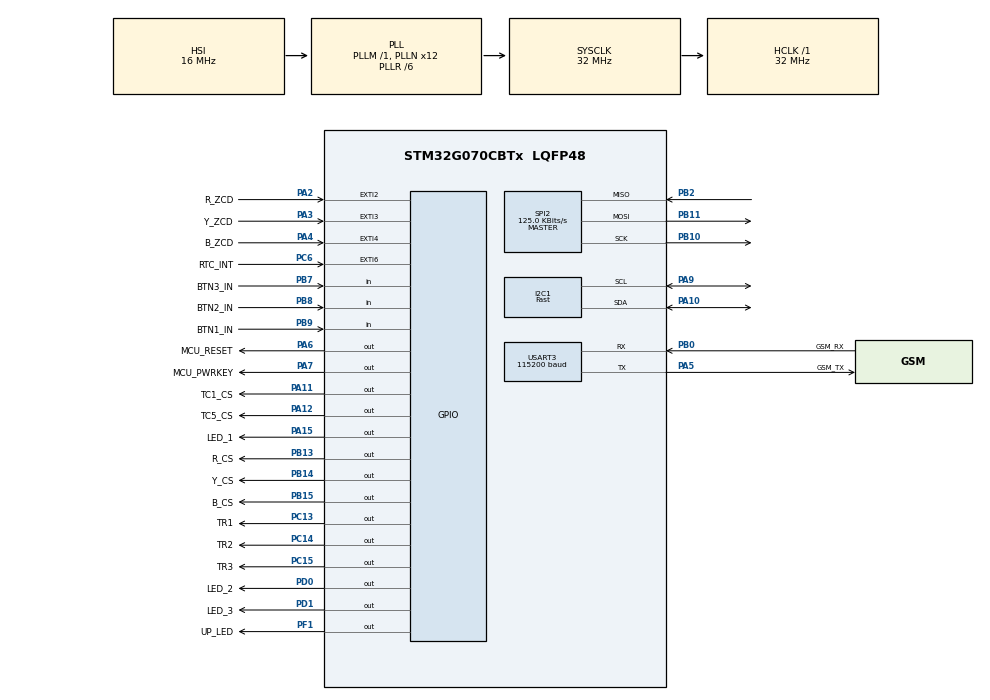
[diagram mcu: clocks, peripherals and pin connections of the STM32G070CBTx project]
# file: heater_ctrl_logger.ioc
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ADC1.Channel-0\#ChannelRegularConversion=ADC_CHANNEL_2
ADC1.Channel-1\#ChannelRegularConversion=ADC_CHANNEL_3
ADC1.Channel-2\#ChannelRegularConversion=ADC_CHANNEL_VREFINT
ADC1.ClockPrescaler=ADC_CLOCK_ASYNC_DIV8
ADC1.ContinuousConvMode=ENABLE
ADC1.DMAContinuousRequests=ENABLE
ADC1.DiscontinuousConvMode=DISABLE
ADC1.EOCSelection=ADC_EOC_SEQ_CONV
ADC1.NbrOfConversion=3
ADC1.NbrOfConversionFlag=1
ADC1.Rank-1\#ChannelRegularConversion=2
ADC1.Rank-2\#ChannelRegularConversion=3
ADC1.SamplingTime-1\#ChannelRegularConversion=ADC_SAMPLINGTIME_COMMON_1
ADC1.SamplingTime-2\#ChannelRegularConversion=ADC_SAMPLINGTIME_COMMON_1
ADC1.SelectedChannel=ADC_CHANNEL_VREFINT
ADC1.Sequencer=FULLY_CONFIGURABLE
ADC1.TriggerFrequencyMode=ADC_TRIGGER_FREQ_HIGH
ADC1.master=1
Dma.ADC1.0.Direction=DMA_PERIPH_TO_MEMORY
Dma.ADC1.0.EventEnable=DISABLE
Dma.ADC1.0.Instance=DMA1_Channel1
Dma.ADC1.0.MemDataAlignment=DMA_MDATAALIGN_HALFWORD
Dma.ADC1.0.MemInc=DMA_MINC_ENABLE
Dma.ADC1.0.Mode=DMA_CIRCULAR
Dma.ADC1.0.PeriphDataAlignment=DMA_PDATAALIGN_HALFWORD
Dma.ADC1.0.PeriphInc=DMA_PINC_DISABLE
Dma.ADC1.0.Polarity=HAL_DMAMUX_REQ_GEN_RISING
Dma.ADC1.0.Priority=DMA_PRIORITY_LOW
Dma.ADC1.0.RequestNumber=1
Dma.ADC1.0.SignalID=NONE
Dma.ADC1.0.SyncEnable=DISABLE
Dma.ADC1.0.SyncPolarity=HAL_DMAMUX_SYNC_NO_EVENT
Dma.ADC1.0.SyncRequestNumber=1
Dma.ADC1.0.SyncSignalID=NONE
Dma.Request0=ADC1
Dma.Request1=USART3_RX
Dma.Request2=USART3_TX
Dma.USART3_RX.1.Direction=DMA_PERIPH_TO_MEMORY
Dma.USART3_RX.1.EventEnable=DISABLE
Dma.USART3_RX.1.Instance=DMA1_Channel2
Dma.USART3_RX.1.MemDataAlignment=DMA_MDATAALIGN_BYTE
Dma.USART3_RX.1.MemInc=DMA_MINC_ENABLE
Dma.USART3_RX.1.Mode=DMA_NORMAL
Dma.USART3_RX.1.PeriphDataAlignment=DMA_PDATAALIGN_BYTE
Dma.USART3_RX.1.PeriphInc=DMA_PINC_DISABLE
Dma.USART3_RX.1.Polarity=HAL_DMAMUX_REQ_GEN_RISING
Dma.USART3_RX.1.Priority=DMA_PRIORITY_MEDIUM
Dma.USART3_RX.1.RequestNumber=1
Dma.USART3_RX.1.SignalID=NONE
Dma.USART3_RX.1.SyncEnable=DISABLE
Dma.USART3_RX.1.SyncPolarity=HAL_DMAMUX_SYNC_NO_EVENT
Dma.USART3_RX.1.SyncRequestNumber=1
Dma.USART3_RX.1.SyncSignalID=NONE
Dma.USART3_TX.2.Direction=DMA_MEMORY_TO_PERIPH
Dma.USART3_TX.2.EventEnable=DISABLE
Dma.USART3_TX.2.Instance=DMA1_Channel3
Dma.USART3_TX.2.MemDataAlignment=DMA_MDATAALIGN_BYTE
Dma.USART3_TX.2.MemInc=DMA_MINC_ENABLE
Dma.USART3_TX.2.Mode=DMA_NORMAL
Dma.USART3_TX.2.PeriphDataAlignment=DMA_PDATAALIGN_BYTE
Dma.USART3_TX.2.PeriphInc=DMA_PINC_DISABLE
Dma.USART3_TX.2.Polarity=HAL_DMAMUX_REQ_GEN_RISING
Dma.USART3_TX.2.Priority=DMA_PRIORITY_LOW
Dma.USART3_TX.2.RequestNumber=1
Dma.USART3_TX.2.SignalID=NONE
Dma.USART3_TX.2.SyncEnable=DISABLE
Dma.USART3_TX.2.SyncPolarity=HAL_DMAMUX_SYNC_NO_EVENT
Dma.USART3_TX.2.SyncRequestNumber=1
Dma.USART3_TX.2.SyncSignalID=NONE
I2C1.CustomTiming=Disabled
I2C1.I2C_Speed_Mode=I2C_Fast
I2C1.Timing=0x0060112F
Mcu.Family=STM32G0
Mcu.Name=STM32G070CBTx
Mcu.Package=LQFP48
NVIC.ADC1_IRQn=true\:0\:0\:false\:false\:true\:true\:true\:true
NVIC.DMA1_Channel1_IRQn=true\:0\:0\:false\:false\:true\:false\:true\:true
NVIC.DMA1_Channel2_3_IRQn=true\:0\:0\:false\:false\:true\:false\:true\:true
NVIC.EXTI2_3_IRQn=true\:0\:0\:false\:false\:true\:true\:true\:true
NVIC.EXTI4_15_IRQn=true\:0\:0\:false\:false\:true\:true\:true\:true
NVIC.TIM16_IRQn=true\:0\:0\:false\:false\:true\:true\:true\:true
NVIC.USART3_4_IRQn=true\:0\:0\:false\:false\:true\:true\:true\:true
PA10.Mode=I2C
PA10.Signal=I2C1_SDA
PA11\ [PA9].GPIO_Label=TC1_CS
PA11\ [PA9].Signal=GPIO_Output
PA12\ [PA10].GPIO_Label=TC5_CS
PA12\ [PA10].Signal=GPIO_Output
PA13.Mode=Serial_Wire
PA13.Signal=SYS_SWDIO
PA14-BOOT0.Mode=Serial_Wire
PA14-BOOT0.Signal=SYS_SWCLK
PA15.GPIO_Label=LED_1
PA15.Signal=GPIO_Output
PA2.GPIO_Label=R_ZCD
PA2.GPIO_ModeDefaultEXTI=GPIO_MODE_IT_FALLING
PA2.GPIO_PuPd=GPIO_PULLUP
PA2.Signal=GPXTI2
PA3.GPIO_Label=Y_ZCD
PA3.GPIO_ModeDefaultEXTI=GPIO_MODE_IT_FALLING
PA3.GPIO_PuPd=GPIO_PULLUP
PA3.Signal=GPXTI3
PA4.GPIO_Label=B_ZCD
PA4.GPIO_ModeDefaultEXTI=GPIO_MODE_IT_FALLING
PA4.GPIO_PuPd=GPIO_PULLUP
PA4.Signal=GPXTI4
PA5.GPIO_Label=GSM_TX
PA5.Mode=Asynchronous
PA5.Signal=USART3_TX
PA6.GPIO_Label=MCU_RESET
PA6.GPIO_ModeDefaultOutputPP=GPIO_MODE_OUTPUT_PP
PA6.GPIO_PuPd=GPIO_NOPULL
PA6.Signal=GPIO_Output
PA7.GPIO_Label=MCU_PWRKEY
PA7.Signal=GPIO_Output
PA9.Mode=I2C
PA9.Signal=I2C1_SCL
PB0.GPIO_Label=GSM_RX
PB0.Mode=Asynchronous
PB0.Signal=USART3_RX
PB10.Mode=Full_Duplex_Master
PB10.Signal=SPI2_SCK
PB11.Mode=Full_Duplex_Master
PB11.Signal=SPI2_MOSI
PB13.GPIO_Label=R_CS
PB13.GPIO_Speed=GPIO_SPEED_FREQ_HIGH
PB13.Signal=GPIO_Output
PB14.GPIO_Label=Y_CS
PB14.GPIO_Speed=GPIO_SPEED_FREQ_HIGH
PB14.Signal=GPIO_Output
PB15.GPIO_Label=B_CS
PB15.GPIO_Speed=GPIO_SPEED_FREQ_HIGH
PB15.Signal=GPIO_Output
PB2.Mode=Full_Duplex_Master
PB2.Signal=SPI2_MISO
PB7.GPIO_Label=BTN3_IN
PB7.Signal=GPIO_Input
PB8.GPIO_Label=BTN2_IN
PB8.Signal=GPIO_Input
PB9.GPIO_Label=BTN1_IN
PB9.Signal=GPIO_Input
PC13.GPIO_Label=TR1
PC13.Signal=GPIO_Output
PC14-OSC32_IN\ (PC14).GPIO_Label=TR2
PC14-OSC32_IN\ (PC14).Signal=GPIO_Output
PC15-OSC32_OUT\ (PC15).GPIO_Label=TR3
PC15-OSC32_OUT\ (PC15).Signal=GPIO_Output
PC6.GPIO_Label=RTC_INT
PC6.GPIO_ModeDefaultEXTI=GPIO_MODE_IT_FALLING
PC6.Signal=GPXTI6
PD0.GPIO_Label=LED_2
PD0.Signal=GPIO_Output
PD1.GPIO_Label=LED_3
PD1.Signal=GPIO_Output
PF1-OSC_OUT\ (PF1).GPIO_Label=UP_LED
PF1-OSC_OUT\ (PF1).Signal=GPIO_Output
ProjectManager.HeapSize=0x200
ProjectManager.StackSize=0x400
ProjectManager.TargetToolchain=STM32CubeIDE
RCC.ADCCLockSelection=RCC_ADCCLKSOURCE_PLLADC
RCC.ADCFreq_Value=16000000
RCC.AHBFreq_Value=32000000
RCC.CortexFreq_Value=32000000
RCC.EXTERNAL_CLOCK_VALUE=48000
RCC.HCLKFreq_Value=32000000
RCC.HSE_VALUE=8000000
RCC.HSI_VALUE=16000000
RCC.LSE_VALUE=32768
RCC.PLLN=12
RCC.PLLP=RCC_PLLP_DIV12
RCC.PLLR=RCC_PLLR_DIV6
RCC.SYSCLKFreq_VALUE=32000000
RCC.SYSCLKSource=RCC_SYSCLKSOURCE_PLLCLK
RCC.VCOOutputFreq_Value=192000000
SPI2.BaudRatePrescaler=SPI_BAUDRATEPRESCALER_256
SPI2.CLKPhase=SPI_PHASE_2EDGE
SPI2.CLKPolarity=SPI_POLARITY_HIGH
SPI2.CalculateBaudRate=125.0 KBits/s
SPI2.DataSize=SPI_DATASIZE_8BIT
SPI2.Direction=SPI_DIRECTION_2LINES
SPI2.Mode=SPI_MODE_MASTER
SPI2.VirtualType=VM_MASTER
TIM16.Period=100
TIM16.Prescaler=32
USART3.BaudRate=115200
USART3.VirtualMode-Asynchronous=VM_ASYNC
VP_ADC1_Vref_Input.Mode=IN-Vrefint
VP_TIM16_VS_ClockSourceINT.Mode=Enable_Timer
board=custom

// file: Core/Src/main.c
/* USER CODE BEGIN Header */
/**
 ******************************************************************************
 * @file           : main.c
 * @brief          : Main program body
 ******************************************************************************
 * @attention
 *
 * Copyright (c) 2024 STMicroelectronics.
 * All rights reserved.
 *
 * This software is licensed under terms that can be found in the LICENSE file
 * in the root directory of this software component.
 * If no LICENSE file comes with this software, it is provided AS-IS.
 *
 ******************************************************************************
 */
/* USER CODE END Header */
#include "main.h"

/* USER CODE BEGIN Includes */
#include "temp.h"
#include "ds3231.h"
#include "e24.h"
#include "../../ECUAL/I2C_LCD/I2C_LCD.h"
#include <stdio.h>
#include <string.h>
#include <math.h>
/* USER CODE END Includes */

/* USER CODE BEGIN PD */
#define LED1(S)					(HAL_GPIO_WritePin(LED_1_GPIO_Port, LED_1_Pin, S))
#define LED2(S)					(HAL_GPIO_WritePin(LED_2_GPIO_Port, LED_2_Pin, S))
#define LED3(S)					(HAL_GPIO_WritePin(LED_3_GPIO_Port, LED_3_Pin, S))
#define GSM_WAIT_TIME_LOW		500
#define GSM_WAIT_TIME_MED		10000
#define GSM_WAIT_TIME_HIGH		20000

#define TIME_READ()				() /* TODO configure time setting buttom */

#define MODE_OFF	0x00
#define MODE_ON		0x01
#define MODE_CTRL	0x02

/*###*/
#define ACS37800_I2C_ADDR				(127)
#define ACS37800_REG_VIRMS				(0x20) /* IRMSAVGONESEC / VRMSAVGONESEC */
#define ACS37800_REG_PACTAVGONEMIN		(0x22) /* LSW */
#define ACS37800_REG_SLADDR				(0x0F) /* LSW */
#define ACS37800_CURR_SENS_RANGE		(30) /* ACS37800KMACTR-030B3-I2C is a 30.0A part */
//#define ACS37800_R_RATIO				(0.0008243)
//#define ACS37800_R_RATIO				(0.000814)
#define ACS37800_R_RATIO				(0.000885)

uint8_t acs37800_vi_buffer[4];
uint8_t acs37800_p_buffer[4];
uint16_t pavg;
float vrms_final = 0;
float irms_final = 0;
float pavg_final = 0;
const float CURR_ERR_MULTIPLIER = 1;
const float VOLT_ERR_MULTIPLIER = 1;
/*###*/
/* USER CODE END PD */

/* USER CODE BEGIN PM */

#define BTN1_READ()		(HAL_GPIO_ReadPin(BTN1_IN_GPIO_Port, BTN1_IN_Pin))
#define BTN2_READ()		(HAL_GPIO_ReadPin(BTN2_IN_GPIO_Port, BTN2_IN_Pin))
#define BTN3_READ()		(HAL_GPIO_ReadPin(BTN3_IN_GPIO_Port, BTN3_IN_Pin))

/* 3 TRIACs, for 3 heaters */
#define TRIAC1_SET(SET_OR_RESET) (HAL_GPIO_WritePin(TR1_GPIO_Port, TR1_Pin, SET_OR_RESET))
#define TRIAC2_SET(SET_OR_RESET) (HAL_GPIO_WritePin(TR2_GPIO_Port, TR2_Pin, SET_OR_RESET))
#define TRIAC3_SET(SET_OR_RESET) (HAL_GPIO_WritePin(TR3_GPIO_Port, TR3_Pin, SET_OR_RESET))
#define TS1_CS(SET_OR_RESET) (HAL_GPIO_WritePin(TC1_CS_GPIO_Port, TC1_CS_Pin, SET_OR_RESET))
#define TS2_CS(SET_OR_RESET) (HAL_GPIO_WritePin(TC5_CS_GPIO_Port, TC5_CS_Pin, SET_OR_RESET))
#define R_CS(SET_OR_RESET) (HAL_GPIO_WritePin(R_CS_GPIO_Port, R_CS_Pin, SET_OR_RESET))
#define Y_CS(SET_OR_RESET) (HAL_GPIO_WritePin(Y_CS_GPIO_Port, Y_CS_Pin, SET_OR_RESET))
#define B_CS(SET_OR_RESET) (HAL_GPIO_WritePin(B_CS_GPIO_Port, B_CS_Pin, SET_OR_RESET))
#define TRIAC2_SET(SET_OR_RESET) (HAL_GPIO_WritePin(TR2_GPIO_Port, TR2_Pin, SET_OR_RESET))
#define TRIAC3_SET(SET_OR_RESET) (HAL_GPIO_WritePin(TR3_GPIO_Port, TR3_Pin, SET_OR_RESET))

#define TRIAC_TRIGGER_TIME    10 /* 100us, 10ms total time for TRIAC to be on */
/* USER CODE END PM */

ADC_HandleTypeDef hadc1;
DMA_HandleTypeDef hdma_adc1;

I2C_HandleTypeDef hi2c1;

SPI_HandleTypeDef hspi2;

TIM_HandleTypeDef htim16;

UART_HandleTypeDef huart3;
DMA_HandleTypeDef hdma_usart3_rx;
DMA_HandleTypeDef hdma_usart3_tx;

/* USER CODE BEGIN PV */
uint32_t baudRate;
EE24_HandleTypeDef ee;
/* USER CODE END PV */

void SystemClock_Config(void);
static void MX_GPIO_Init(void);
static void MX_DMA_Init(void);
static void MX_TIM16_Init(void);
static void MX_I2C1_Init(void);
static void MX_USART3_UART_Init(void);
static void MX_ADC1_Init(void);
static void MX_SPI2_Init(void);

/* USER CODE BEGIN 0 */
/** LCD **/
#define LCD1 I2C_LCD_1

/* Button reading */
#define LED_BLINK_TIME	1000
#define LED_ON()		(HAL_GPIO_WritePin(UP_LED_GPIO_Port, UP_LED_Pin, GPIO_PIN_SET))
#define LED_OFF()		(HAL_GPIO_WritePin(UP_LED_GPIO_Port, UP_LED_Pin, GPIO_PIN_RESET))

uint8_t btn1_flag, btn2_flag, btn3_flag;
uint16_t btn1_timer, btn2_timer, btn3_timer, led_blink_timer;
uint8_t btn1_stat;
uint8_t btn2_stat;
uint8_t btn3_stat;
uint8_t led_blink_flag;

void led_blink() {
	LED_ON();
	led_blink_flag = 1;
}

uint8_t btn1_read(uint8_t is_long) {
	if(BTN3_READ() == 0) {
		btn1_flag = 1;
		if(btn1_flag && btn1_timer > (is_long ? 10000: 1100)) {
			btn1_timer = 0;
			return 1;
		}
	}
	else btn1_flag = 0;
	return 0;
}
uint8_t btn2_read() {
	if(BTN2_READ() == 0) {
		btn2_flag = 1;
		if(btn2_flag && btn2_timer > 1100) {
			btn2_timer = 0;
			return 1;
		}
	}
	else btn2_flag = 0;
	return 0;
}
uint8_t btn3_read(uint8_t is_long) {
	if(BTN1_READ() == 0) {
		btn3_flag = 1;
		if(btn3_flag && btn3_timer > (is_long ? 10000: 1100)) {
			btn3_timer = 0;
			return 1;
		}
	}
	else btn3_flag = 0;
	return 0;
}

I2C_HandleTypeDef* _ds3231_hi2c = &hi2c1;
uint8_t sensor_idx;
uint8_t sensor_refresh_flag;
uint32_t us;
uint32_t ms;
uint8_t sec;
uint32_t min;
uint16_t hr;

/* ADC stuff */
/* ADC data points */
#define ADC_CHANNEL_COUNT    3 /* TODO change this */
#define ADC_SAMPLE_COUNT     500 /* TODO change this */
float adc_arr[ADC_CHANNEL_COUNT];
float adc_conv_fact[ADC_CHANNEL_COUNT] = { 0.108675, 0.001932, 0 }; /* TODO add current and temp values */
uint16_t adc_raw[ADC_CHANNEL_COUNT];

double kwh;

typedef enum adc_params {
	VOLT,
	CUR,
	TEMP,
} adc_param;

uint8_t period = 0;
void HAL_ADC_ConvCpltCallback(ADC_HandleTypeDef *hadc) {
	static uint32_t adc_avg[ADC_CHANNEL_COUNT] = {};
	static uint16_t sample_count = 0;
	if(sample_count >= ADC_SAMPLE_COUNT) {
		for(uint8_t i = 0; i < ADC_CHANNEL_COUNT; i++) {
			adc_avg[i] = adc_avg[i] / ADC_SAMPLE_COUNT;
			if(adc_avg[i] < 200) adc_avg[i] = 0;
			adc_arr[i] = (float)adc_avg[i] * adc_conv_fact[i];
			adc_avg[i] = 0;
		}
		sample_count = 0;
	}
	else {
		for(uint8_t i = 0; i < ADC_CHANNEL_COUNT; i++) {
			adc_avg[i] += adc_raw[i];
		}
		sample_count++;
	}
}

uint16_t triac_trigger_timer;
uint8_t triac_temp_ctrl;
uint8_t triac_trigger_flag;

/* GPIO EXTI */
uint8_t triac_timer_flag_r;
uint8_t triac_timer_flag_y;
uint8_t triac_timer_flag_b;

float triac_timer_r;
float triac_timer_y;
float triac_timer_b;

float triac_time;

uint32_t tim = 0;
uint16_t triac_on_time;
uint8_t triac_mode = MODE_OFF;
uint8_t mode = 0;
uint8_t kwh_time_count; /* TODO remove */
/*###*/
uint8_t kwh_update_flag;
uint8_t vi_update_flag;
/*###*/

void HAL_GPIO_EXTI_Falling_Callback(uint16_t pin) {
	// TODO pin check
	if(pin == GPIO_PIN_2) {
		/* zero crossing detection */
//		lastime = TIM16->CNT;
		triac_timer_r = 0;
		triac_timer_flag_r = 1; /* allow the timer to run */
		/* keep the TRIACs low before triggering */
		TRIAC1_SET(0); /* trigger delay */
	}
	else if(pin == GPIO_PIN_3) { /* TODO pin fix*/
		triac_timer_y = 0;
		triac_timer_flag_y = 1;
		TRIAC2_SET(0);
	}
	else if(pin == GPIO_PIN_4) {
		triac_timer_b = 0;
		triac_timer_flag_b = 1;
		TRIAC3_SET(0);
	}
	if(pin == GPIO_PIN_6) {
		/* RTC interrupt */
		/*###*/
//		kwh_update_flag = 1;
		/*###*/
	}
}

float temperatures[SENSOR_COUNT + 1];

/* GSM stuff */
#define GSM_OK		0
#define GSM_WAIT	2
#define GSM_NOK 	99

#define GSM_CMD_LAST_IDX	13

volatile uint8_t gsm_tx_busy, gsm_rx_busy, gsm_status;
volatile uint16_t gsm_rx_timer, gsm_rx_timeout;
uint8_t gsm_cmd_step;
volatile uint8_t gsm_rx_flag;
#define GSM_RX_BUFFER_SIZE	100
#define RX_BUFFER_SIZE		512
uint8_t gsm_tx_buffer[300];
char gsm_rx_buffer[GSM_RX_BUFFER_SIZE];
char gsm_match_resp[20];

static uint8_t rx_byte;
static uint8_t rx_index;
static uint8_t rx_timeout;
uint8_t time_flag;
//static uint8_t rx_buffer[RX_BUFFER_SIZE] = {0};
static char rx_buffer[RX_BUFFER_SIZE] = {0};

uint8_t upload_running = 0;
uint8_t upload_flag = 0;
uint8_t time_isr_flg = 0;
uint16_t reset_flag = 0;

uint32_t lastime;

/* Util funcs */
// Check if target string exists in buffer
uint8_t find_string_in_buffer(const char* buffer, const char* target) {
}

uint8_t gsm_cmd(char *cmd, char *op_check, uint16_t wtime) {
	char cmd_string[500];
	memset(cmd_string, 0, 20);
	sprintf(cmd_string, "%s%s", cmd, "\r\n" );
	gsm_tx_busy = 1;
	gsm_rx_timeout = wtime * 10;
	strcpy(gsm_match_resp, op_check);
	gsm_status = GSM_WAIT;
	return HAL_UART_Transmit_DMA(&huart3, (uint8_t *)cmd_string, strlen(cmd_string));
}

uint8_t gsm_is_valid_resp() {
    return strstr(gsm_rx_buffer, gsm_match_resp) != NULL;
}

void HAL_UART_TxCpltCallback(UART_HandleTypeDef *huart) {
	if(huart->Instance == USART3) {
		gsm_tx_busy = 0;
		gsm_rx_busy = 1;
		memset(gsm_rx_buffer, 0, GSM_RX_BUFFER_SIZE);
		HAL_UART_Receive_DMA(huart, gsm_rx_buffer, GSM_RX_BUFFER_SIZE);
		gsm_rx_flag = 1;
	}
}

void HAL_UART_RxCpltCallback(UART_HandleTypeDef *huart) {
	if(huart->Instance == USART3) {
		if (rx_index < RX_BUFFER_SIZE - 1) {
		    rx_buffer[rx_index++] = rx_byte;
		} else {
		    rx_index = 0;   // or stop reception
		}
		reset_flag++;
		if(rx_timeout == 0){
			HAL_UART_Receive_IT(huart, &rx_byte, 1);
		}
		if(rx_index > 38) {
			time_isr_flg = 1;
		}
	}
}

uint8_t led2_blink_flag, led2_blink_state;
uint16_t led2_blink_timer;
void led2_blink() {
	led2_blink_flag = 1;
}

void led2_off() {
	led2_blink_flag = 0;
	LED2(0);
}

void HAL_TIM_PeriodElapsedCallback(TIM_HandleTypeDef* htim) {
	if(htim->Instance == TIM16) {
		if(ms > 10000) {
			if(sec > 60) {
				if(min > 60) {
					min = 0;
					hr++;
				}
				else min++;
				sec = 0;
			} else sec++;
			ms = 0;
			vi_update_flag = 1;
			kwh_update_flag = 1;
			/*###*/
		} else ms++;

		if(ms % 5000 == 0)
			sensor_refresh_flag = 1;
		btn1_timer = btn1_flag ? btn1_timer + 1: 0;
		btn2_timer = btn2_flag ? btn2_timer + 1: 0;
		btn3_timer = btn3_flag ? btn3_timer + 1: 0;
		led_blink_timer = led_blink_flag ? led_blink_timer + 1: 0;
//		if(led_blink_timer > LED_BLINK_TIME) {
//			led_blink_flag =  0;
//			LED_OFF();
//		}
//		if(led2_blink_flag) {
//			led2_blink_timer++;
//			if(led2_blink_timer > LED_BLINK_TIME) {
//				LED2(!led2_blink_state); /* toggle LED */
//				led2_blink_timer = 0;
//			}
//		} else LED2(0);
//
		/*B*/
		/* If time up, trigger TRIAC */
		if(triac_mode == MODE_CTRL) {
			triac_timer_r = triac_timer_flag_r ? triac_timer_r + 0.1 : 0;
			triac_timer_y = triac_timer_flag_y ? triac_timer_y + 0.1 : 0;
			triac_timer_b = triac_timer_flag_b ? triac_timer_b + 0.1 : 0;

			if(triac_timer_r >= triac_time) {
				/* trigger TRIAC */
				triac_timer_flag_r = 0;
				TRIAC1_SET(1); /* trigger pulse */
				for(uint8_t i = 0; i < 100; i++);
				TRIAC1_SET(0); /* turn it off */
			}

			if(triac_timer_y >= triac_time) {
				/* trigger TRIAC */
				triac_timer_flag_y = 0;
				TRIAC2_SET(1); /* trigger pulse */
				for(uint8_t i = 0; i < 100; i++);
				TRIAC2_SET(0); /* turn it off */
			}

			if(triac_timer_b >= triac_time) {
				/* trigger TRIAC */
				triac_timer_flag_b = 0;
				TRIAC3_SET(1); /* trigger pulse */
				for(uint8_t i = 0; i < 100; i++);
				TRIAC3_SET(0); /* turn it off */
			}

		} else {
			TRIAC1_SET(0); /* trigger TRIAC */
			TRIAC2_SET(0);
			TRIAC3_SET(0); /* turn it off */
			triac_time = 0;
		}
		/*B*/
		gsm_rx_timer = gsm_rx_flag ? gsm_rx_timer + 1: 0;
		if(gsm_rx_timer > gsm_rx_timeout) {
			gsm_rx_timer = 0;
			/* TODO process gsm_rx_buffer */
			if(gsm_is_valid_resp())
				gsm_status = GSM_OK;
			else
				gsm_status = GSM_NOK;

//			memset(gsm_rx_buffer, 0, GSM_RX_BUFFER_SIZE);
			gsm_rx_flag = 0; /* clear everything... */
			gsm_tx_busy = 0; /* ...to read data again */
			gsm_rx_busy = 0;
		}
	}
}
/* EEPROM */
#define EEPROM_I2C &hi2c1
// EEPROM ADDRESS (8bits)
#define EEPROM_ADDR 0xAE
#define EEPROM_KWH_MEM_ADDR	(0x0)

static uint8_t adc_data_volt[3];
static uint8_t adc_data_curr[3];
static uint16_t adc_data_volt_raw[3];
static uint16_t adc_data_curr_raw[3];
static uint32_t adc_data_volt_avg[3];
static uint32_t adc_data_curr_avg[3];
static float adc_pv_volt[3];
static float adc_pv_curr[3];

typedef enum {
	R_PH,
	Y_PH,
	B_PH
} Phase_Id;
/* USER CODE END 0 */

int main(void)
{

	/* MCU Configuration--------------------------------------------------------*/

	/* Reset of all peripherals, Initializes the Flash interface and the Systick. */
	HAL_Init();

	/* Configure the system clock */
	SystemClock_Config();

	/* Initialize all configured peripherals */
	MX_GPIO_Init();
	MX_DMA_Init();
	MX_TIM16_Init();
	MX_I2C1_Init();
	MX_USART3_UART_Init();
	MX_ADC1_Init();
	MX_SPI2_Init();
	/* USER CODE BEGIN 2 */
	TRIAC1_SET(0);
	TRIAC2_SET(0);
	TRIAC3_SET(0);
	TS1_CS(1);
	TS2_CS(1);
	R_CS(1);
	Y_CS(1);
	B_CS(1);

	/* USER CODE END 2 */

	/* Infinite loop */
	/* USER CODE BEGIN WHILE */
	uint8_t sdo[2] = { 0, 0 };
	uint16_t temp_word;
	uint8_t temp_state = 0;
	uint16_t temp12b = 0;

	/* GSM stuff */
	char content_string[200] = "";
	char api_key[20] = "07AFUS2QQTX0QLDF"; /* key for testing */
	// "01VH0OM4JU4KG9KN"; // API key
	/* GSM powerkey dance */
	/* TODO implement this using timer interrupts */
	// PWRKEY dance. Credits: Indra
	//	HAL_GPIO_WritePin(MCU_RESET_GPIO_Port,MCU_RESET_Pin,GPIO_PIN_SET);
	//	HAL_Delay(2000);
	//	HAL_GPIO_WritePin(MCU_RESET_GPIO_Port,MCU_RESET_Pin,GPIO_PIN_RESET);
	//	HAL_Delay(200);
	//
	//	HAL_GPIO_WritePin(MCU_PWRKEY_GPIO_Port,MCU_PWRKEY_Pin,GPIO_PIN_RESET);
	//	HAL_Delay(200);
	//	HAL_GPIO_WritePin(MCU_PWRKEY_GPIO_Port,MCU_PWRKEY_Pin,GPIO_PIN_SET);
	//	HAL_Delay(700);
	//	HAL_GPIO_WritePin(MCU_PWRKEY_GPIO_Port,MCU_PWRKEY_Pin,GPIO_PIN_RESET);
	//	HAL_Delay(15000);

	uint8_t prev_idx = 1;

	/* key variables */
	uint8_t active_sensor_idx = 0;
	uint16_t set_point = 400; /* Cut the TRIAC off above 400 */

	/* Initialization */
	HAL_TIM_Base_Start_IT(&htim16);
	triac_timer_flag_r = 0;
	triac_timer_flag_y = 0;
	triac_timer_flag_b = 0;
	gsm_cmd_step = -1;

	/* ds3231 init */
	DateTime ti;
	DateTime time = {0};
	ti.day = 14;
	ti.month = 11;
	ti.year = 24;
	ti.dow = 2;
	ti.hr = 21;
	ti.min = 14;
	ti.sec = 0;
	uint8_t data[] = { 2, 3 };
	uint8_t rdata[2] = {};

	//	uint8_t ee_var[] = {0,0,0,0};
	//	EEPROM_Write(0, 0, &ee_var, 4);
	//	/*A*/
	//	ds3231_settime(&ti);
	//	ds3231_gettime(&time);
	//
//	ds3231_clearalarm1();
//	ds3231_clearflagalarm1(); /* clear alarm flag */
//	ds3231_setalarm1(ALARM_MODE_SEC_MATCHED, 0, 0, 0, 10);
//	alarmcheck();
	/*A*/

	/* eeprom init */
	static uint8_t adc_cmd32[3] = {0};
	static uint8_t adc_channel = 0;
	static uint8_t adc_cs = 0;

	static uint32_t sample_count = 0;

	uint8_t status = 0;
	uint8_t data_write = 21;
	uint8_t data_read = 0;
	status = EE24_Init(&ee, EEPROM_I2C, EEPROM_ADDR);
	status = EE24_Write(&ee, 12, &data_write, 1, HAL_MAX_DELAY);
	status = EE24_Read(&ee, 12, &data_read, 1, HAL_MAX_DELAY);
	while (1)
	{

		switch(adc_cs)
		{
		case R_PH:
			R_CS(0);
			break;
		case Y_PH:
			Y_CS(0);
			break;
		case B_PH:
			B_CS(0);
			break;
		default:
			R_CS(0);
		}
		adc_cmd32[0] = 0x01;
		adc_cmd32[1] = (adc_channel == 0) ? 0x80 : 0xC0; // Single-ended CH0 or CH1
		adc_cmd32[2] = 0x00;
		switch(adc_channel)
		{
		case 0:
			if (HAL_SPI_TransmitReceive(&hspi2, adc_cmd32, adc_data_volt, 3, 100) == HAL_OK) {
				// 4. Parse 12-bit result from last 2 bytes
				// Data format: Byte1 (ignored), Byte2 (lower 4 bits are ADC bit 11-8), Byte3 (ADC bit 7-0)
				adc_data_volt_raw[adc_cs] = ((adc_data_volt[1] & 0x0F) << 8) | adc_data_volt[2];
				adc_data_volt_avg[adc_cs] = adc_data_volt_avg[adc_cs] + adc_data_volt_raw[adc_cs];
			}
			break;
		case 1:
			if (HAL_SPI_TransmitReceive(&hspi2, adc_cmd32, adc_data_curr, 3, 100) == HAL_OK) {
				// 4. Parse 12-bit result from last 2 bytes
				// Data format: Byte1 (ignored), Byte2 (lower 4 bits are ADC bit 11-8), Byte3 (ADC bit 7-0)
				adc_data_curr_raw[adc_cs] = ((adc_data_curr[1] & 0x0F) << 8) | adc_data_curr[2];
				adc_data_curr_avg[adc_cs] = adc_data_curr_avg[adc_cs] + adc_data_curr_raw[adc_cs];
			}
			break;
		}
		sample_count++;
		if(sample_count >= 5000) {
			adc_data_volt_avg[adc_cs] = adc_data_volt_avg[adc_cs]/2500.0f;
			adc_data_curr_avg[adc_cs] = adc_data_curr_avg[adc_cs]/2500.0f;
			adc_pv_volt[adc_cs] = (float)((adc_data_volt_avg[adc_cs] * (3.33f/4095.0f)) - 0.01) * (250.0f/2.5f) * VOLT_ERR_MULTIPLIER;
			adc_pv_curr[adc_cs] = (float)(adc_data_curr_avg[adc_cs] * (3.33f/4095.0f)) * (25.0f/2.5f) * CURR_ERR_MULTIPLIER;
			adc_data_volt_avg[adc_cs] = 0;
			adc_data_curr_avg[adc_cs] = 0;
			sample_count = 0;
		}
		R_CS(1);
		Y_CS(1);
		B_CS(1);
		adc_channel = adc_channel ? 0 : 1;
		if(adc_channel) /* if volt & curr read, go to next chip */
			adc_cs = (adc_cs + 1) % 3;

		/* process it, baby */

		if(kwh_update_flag == 1) { /* flag set to 1 on RTC 1 sec interrupt */
			/* reading ACS37800 */
			uint32_t kwh_save = 0;
			static double pow = 0;
			pow = adc_pv_volt[R_PH] * adc_pv_curr[R_PH] + \
					adc_pv_volt[Y_PH] * adc_pv_curr[Y_PH] + \
					adc_pv_volt[B_PH] * adc_pv_curr[B_PH];
			EEPROM_Read(0, 0, &kwh_save, 4);
			kwh = kwh_save + (pow * 1/((float)3600 * 1000));
			EEPROM_Write(0, 0, &kwh, 4);
			ds3231_clearflagalarm1(); /* clear alarm flag */
			kwh_update_flag = 0;
		}
		/* read time from RTC */
		if(TIME_READ() == 0) { /* read the time-setting button */
			if(time_flag == 0) {
				time_flag++ ;
			}
			if(time_flag == 2) {
				if(gsm_cmd_step == 0){
					rx_index = 0;
					time_isr_flg = 0 ;
					gsm_cmd("AT+CCLK?","OK ", GSM_WAIT_TIME_HIGH);
					char network_time[512];
					while(time_isr_flg == 0){
						/* wait till */
					}
					memcpy(network_time, rx_buffer, sizeof(rx_buffer)) ;

					char *cclk = "CCLK";
					char *time_start ;
					time_start = strstr(network_time, cclk) ;
					char time_str[32] ;
					memcpy(time_str, time_start,30);
					time_str[28] = '\0';

					int yy, MM, dd, hh, mm, ss, tz;

					DateTime now ,UTC ;

					uint8_t ret=sscanf(time_str,
							"CCLK: \"%2d/%2d/%2d,%2d:%2d:%2d%3d\"",
							&yy, &MM, &dd,
							&hh, &mm, &ss,
							&tz);

					if (ret == 7) {
						// parsing failed
						now.sec=ss ;
						now.min=mm ;
						now.hr=hh ;
						now.dow=1 ;
						now.day=dd ;
						now.month=MM ;
						now.year= yy  ;
					}

					IST_To_UTC(now, &UTC);
					ds3231_settime(&UTC);
					HAL_Delay(500);
				}
			}
		}

		/* routines */

		/*### Sensor read ###*/
		/*A*/
		if(sensor_refresh_flag == 1) {
			R_CS(1);
			Y_CS(1);
			B_CS(1);
			if(sensor_idx == 1) {
				TS1_CS(0);
				TS2_CS(1);
			}
			else {
				TS1_CS(1);
				TS2_CS(0);
			}
			HAL_SPI_Receive(&hspi2, (uint8_t *)sdo, 2, 10);
			/* disable CS */
			TS1_CS(1);
			TS2_CS(1);
			temp_state = (((sdo[1] | (sdo[0] << 8)) >> 2) & 0x0001);
			temp_word = (sdo[1] | sdo[0] << 8);
			temp12b = (temp_word & 0b111111111111000) >> 3;
			/* store the temp */
			if(temp_state == 1) {
				temperatures[sensor_idx - 1] = -99;
			}
			else {
				temperatures[sensor_idx - 1] = (float)(temp12b*0.25);
			}
			sensor_idx = sensor_idx >= SENSOR_COUNT ? 1 : sensor_idx + 1;
			sensor_refresh_flag = 0;
		}

		/* LED for temp */
		if(temperatures[0] > 60 || temperatures[1] > 60) {
			LED2(1);
		} else LED2(0);
		if(triac_mode == MODE_CTRL && triac_temp_ctrl == 1 && \
				(adc_pv_curr[R_PH] <= 0.01f) || \
				(adc_pv_curr[Y_PH] <= 0.01f) || \
				(adc_pv_curr[B_PH] <= 0.01f)) {
			LED1(1);
		} else LED1(0);
		if(mode != 0) { /* heater cut-off */
			/* blink LED2 */
			LED3(1);
		} else LED3(0);

		sdo[0] = 0;
		sdo[1] = 0;
		temp_word = 0;
		temp12b = 0;
		//
		/*### ON-OFF Control ###*/
		if(temperatures[0] >= set_point || temperatures[1] >= set_point) {
			/* Turn TRIAC off */
			TRIAC1_SET(0);
			TRIAC2_SET(0);
			TRIAC3_SET(0);
			triac_temp_ctrl = 0;
		}
		else {
			triac_temp_ctrl = 1;
			/* Use TRIAC control logic to control output */
		}

		/*### Selector switch read ###*/
		if(triac_temp_ctrl == 1) {
			if(BTN1_READ() == 0) {
				if(BTN1_READ() == 0) {
					mode = 1;
					triac_time = 3.5; /* 130V */
					triac_mode = MODE_CTRL; /* Never trigger TRIACs */
				}
			}
			else if(BTN2_READ() == 0) {
				if(BTN2_READ() == 0) {
					mode = 2;
					triac_time = 2.4; /* 170V */
					triac_mode = MODE_CTRL; /* Never trigger TRIACs */
				}
			}
			else if(BTN3_READ() == 0) {
				if(BTN3_READ() == 0) {
					mode = 3;
					triac_time = 0.1; /* 205V */
					triac_mode = MODE_CTRL; /* Never trigger TRIACs */
				}
			}
			else {
				mode = 0;
				triac_mode = MODE_OFF; /* Never trigger TRIACs */
				/* keep triacs off */
				TRIAC1_SET(0);
				TRIAC2_SET(0);
				TRIAC3_SET(0);
			}
		}
		else {
			mode = 0;
			triac_mode = MODE_OFF; /* Never trigger TRIACs */
			/* keep triacs off */
			TRIAC1_SET(0);
			TRIAC2_SET(0);
			TRIAC3_SET(0);
		}

		/*A*/
		/* GSM stuff */
		/*########################################################################*/
		if(gsm_status != GSM_WAIT) {
			if(upload_running) {
				if(gsm_status == GSM_OK || gsm_status == GSM_NOK) {
					if(gsm_cmd_step >= GSM_CMD_LAST_IDX) {
						upload_flag = 1; /* successful upload */
						led_blink();
						gsm_cmd_step = 0; /* prep for next upload */
						upload_running = 0; /* wait for next time slot */
					}
					else
						gsm_cmd_step += 1;
				}
				//				else if(gsm_status == GSM_NOK) {
				//					gsm_cmd_step = 0;
				//					upload_running = 0; /* cancel upload seq */
				//				}
				switch(gsm_cmd_step) {
				case 0:
					break;
				case 1:
					gsm_cmd("AT+NETCLOSE","OK", GSM_WAIT_TIME_LOW);
					break;
				case 2:
					gsm_cmd("AT+CCHMODE=1","OK", GSM_WAIT_TIME_LOW);
					break;
				case 3:
					gsm_cmd("AT+CCHSET=1","OK", GSM_WAIT_TIME_LOW);
					break;
				case 4:
					gsm_cmd("AT+CCHSTART","OK", GSM_WAIT_TIME_LOW);
					break;
				case 5:
					gsm_cmd("AT+CCHSSLCFG=0,0","OK",GSM_WAIT_TIME_LOW);
					break;
				case 6:
					gsm_cmd("AT+CSOCKSETPN=1","OK", GSM_WAIT_TIME_LOW);
					break;
				case 7:
					gsm_cmd("AT+CIPMODE=0","OK", GSM_WAIT_TIME_LOW);
					break;
				case 8:
					gsm_cmd("AT+NETOPEN","OK", GSM_WAIT_TIME_LOW);
					break;
				case 9:
					gsm_cmd("AT+CGATT=1","OK", GSM_WAIT_TIME_LOW);
					break;
				case 10:
					gsm_cmd("AT+CGACT=1,1","OK", GSM_WAIT_TIME_LOW);
					break;
				case 11:
					gsm_cmd("AT+IPADDR","OK", GSM_WAIT_TIME_MED);
					break;
				case 12:
					gsm_cmd("AT+CCHOPEN=0,\"api.thingspeak.com\",443,2","CONNECT 115200", GSM_WAIT_TIME_MED);
					break;
				case 13:
					sprintf(content_string, "GET /update?api_key=%s&field1=%d&field2=%d&field3=%d&field4=%.1f&field5=%.1f&field6=%.1f&field7=%.1f&field8=%d\r\n" \
							"HTTP/1.1\r\nHost: api.thingspeak.com\r\n", \
							api_key, (int)temperatures[0], (int)temperatures[1], (int)mode, \
							(float)adc_pv_volt[R_PH], (float)adc_pv_curr[R_PH], (float)adc_pv_curr[Y_PH],\
							(float)adc_pv_curr[B_PH], 0);
					/* to upload:
					 * t1
					 * t2
					 * mode
					 * r_v
					 * y_v
					 * b_v
					 * r_a
					 * y_a
					 * b_a
					 * kwh
					 */
					gsm_cmd(content_string, "200 OK", GSM_WAIT_TIME_MED);
					break;
				case 14:
					gsm_cmd("AT+CIPCLOSE=0", "OK", GSM_WAIT_TIME_LOW);
					break;
				default:
				}
			}
			else gsm_cmd_step = 0;
		}
		if(sec % 30 == 0 && sec != 0) {
			if(upload_running == 0 && upload_flag == 0) { /* upload flag indicates if an */
				upload_running = 1; /* start uploading */
				gsm_cmd_step = 0; /* with the first command */
			}
		} else upload_flag = 0;

		if(TIME_READ() == 0) {
			if(time_flag == 1) {
				time_flag = 2;
			}
		}

		if((min % 6 == 0)  && (min >0 )){
			if(reset_flag > 1) {
				reset_flag=0 ;
				min++ ;
			}
			else HAL_NVIC_SystemReset();
		}
		/*########################################################################*/
	}
	/* USER CODE END WHILE */

}

void SystemClock_Config(void)
{
  RCC_OscInitTypeDef RCC_OscInitStruct = {0};
  RCC_ClkInitTypeDef RCC_ClkInitStruct = {0};

  /** Configure the main internal regulator output voltage
  */
  HAL_PWREx_ControlVoltageScaling(PWR_REGULATOR_VOLTAGE_SCALE1);

  /** Initializes the RCC Oscillators according to the specified parameters
  * in the RCC_OscInitTypeDef structure.
  */
  RCC_OscInitStruct.OscillatorType = RCC_OSCILLATORTYPE_HSI;
  RCC_OscInitStruct.HSIState = RCC_HSI_ON;
  RCC_OscInitStruct.HSIDiv = RCC_HSI_DIV1;
  RCC_OscInitStruct.HSICalibrationValue = RCC_HSICALIBRATION_DEFAULT;
  RCC_OscInitStruct.PLL.PLLState = RCC_PLL_ON;
  RCC_OscInitStruct.PLL.PLLSource = RCC_PLLSOURCE_HSI;
  RCC_OscInitStruct.PLL.PLLM = RCC_PLLM_DIV1;
  RCC_OscInitStruct.PLL.PLLN = 12;
  RCC_OscInitStruct.PLL.PLLP = RCC_PLLP_DIV12;
  RCC_OscInitStruct.PLL.PLLR = RCC_PLLR_DIV6;
  if (HAL_RCC_OscConfig(&RCC_OscInitStruct) != HAL_OK)
  {
    Error_Handler();
  }

  /** Initializes the CPU, AHB and APB buses clocks
  */
  RCC_ClkInitStruct.ClockType = RCC_CLOCKTYPE_HCLK|RCC_CLOCKTYPE_SYSCLK
                              |RCC_CLOCKTYPE_PCLK1;
  RCC_ClkInitStruct.SYSCLKSource = RCC_SYSCLKSOURCE_PLLCLK;
  RCC_ClkInitStruct.AHBCLKDivider = RCC_SYSCLK_DIV1;
  RCC_ClkInitStruct.APB1CLKDivider = RCC_HCLK_DIV1;

  if (HAL_RCC_ClockConfig(&RCC_ClkInitStruct, FLASH_LATENCY_1) != HAL_OK)
  {
    Error_Handler();
  }
}

static void MX_ADC1_Init(void)
{

  ADC_ChannelConfTypeDef sConfig = {0};

  /** Configure the global features of the ADC (Clock, Resolution, Data Alignment and number of conversion)
  */
  hadc1.Instance = ADC1;
  hadc1.Init.ClockPrescaler = ADC_CLOCK_ASYNC_DIV8;
  hadc1.Init.Resolution = ADC_RESOLUTION_12B;
  hadc1.Init.DataAlign = ADC_DATAALIGN_RIGHT;
  hadc1.Init.ScanConvMode = ADC_SCAN_ENABLE;
  hadc1.Init.EOCSelection = ADC_EOC_SEQ_CONV;
  hadc1.Init.LowPowerAutoWait = DISABLE;
  hadc1.Init.LowPowerAutoPowerOff = DISABLE;
  hadc1.Init.ContinuousConvMode = ENABLE;
  hadc1.Init.NbrOfConversion = 3;
  hadc1.Init.DiscontinuousConvMode = DISABLE;
  hadc1.Init.ExternalTrigConv = ADC_SOFTWARE_START;
  hadc1.Init.ExternalTrigConvEdge = ADC_EXTERNALTRIGCONVEDGE_NONE;
  hadc1.Init.DMAContinuousRequests = ENABLE;
  hadc1.Init.Overrun = ADC_OVR_DATA_PRESERVED;
  hadc1.Init.SamplingTimeCommon1 = ADC_SAMPLETIME_1CYCLE_5;
  hadc1.Init.SamplingTimeCommon2 = ADC_SAMPLETIME_1CYCLE_5;
  hadc1.Init.OversamplingMode = DISABLE;
  hadc1.Init.TriggerFrequencyMode = ADC_TRIGGER_FREQ_HIGH;
  if (HAL_ADC_Init(&hadc1) != HAL_OK)
  {
    Error_Handler();
  }

  /** Configure Regular Channel
  */
  sConfig.Channel = ADC_CHANNEL_2;
  sConfig.Rank = ADC_REGULAR_RANK_1;
  sConfig.SamplingTime = ADC_SAMPLINGTIME_COMMON_1;
  if (HAL_ADC_ConfigChannel(&hadc1, &sConfig) != HAL_OK)
  {
    Error_Handler();
  }

  /** Configure Regular Channel
  */
  sConfig.Channel = ADC_CHANNEL_3;
  sConfig.Rank = ADC_REGULAR_RANK_2;
  if (HAL_ADC_ConfigChannel(&hadc1, &sConfig) != HAL_OK)
  {
    Error_Handler();
  }

  /** Configure Regular Channel
  */
  sConfig.Channel = ADC_CHANNEL_VREFINT;
  sConfig.Rank = ADC_REGULAR_RANK_3;
  if (HAL_ADC_ConfigChannel(&hadc1, &sConfig) != HAL_OK)
  {
    Error_Handler();
  }

}

static void MX_I2C1_Init(void)
{

  hi2c1.Instance = I2C1;
  hi2c1.Init.Timing = 0x0060112F;
  hi2c1.Init.OwnAddress1 = 0;
  hi2c1.Init.AddressingMode = I2C_ADDRESSINGMODE_7BIT;
  hi2c1.Init.DualAddressMode = I2C_DUALADDRESS_DISABLE;
  hi2c1.Init.OwnAddress2 = 0;
  hi2c1.Init.OwnAddress2Masks = I2C_OA2_NOMASK;
  hi2c1.Init.GeneralCallMode = I2C_GENERALCALL_DISABLE;
  hi2c1.Init.NoStretchMode = I2C_NOSTRETCH_DISABLE;
  if (HAL_I2C_Init(&hi2c1) != HAL_OK)
  {
    Error_Handler();
  }

  /** Configure Analogue filter
  */
  if (HAL_I2CEx_ConfigAnalogFilter(&hi2c1, I2C_ANALOGFILTER_ENABLE) != HAL_OK)
  {
    Error_Handler();
  }

  /** Configure Digital filter
  */
  if (HAL_I2CEx_ConfigDigitalFilter(&hi2c1, 0) != HAL_OK)
  {
    Error_Handler();
  }

}

static void MX_SPI2_Init(void)
{

  /* SPI2 parameter configuration*/
  hspi2.Instance = SPI2;
  hspi2.Init.Mode = SPI_MODE_MASTER;
  hspi2.Init.Direction = SPI_DIRECTION_2LINES;
  hspi2.Init.DataSize = SPI_DATASIZE_8BIT;
  hspi2.Init.CLKPolarity = SPI_POLARITY_HIGH;
  hspi2.Init.CLKPhase = SPI_PHASE_2EDGE;
  hspi2.Init.NSS = SPI_NSS_SOFT;
  hspi2.Init.BaudRatePrescaler = SPI_BAUDRATEPRESCALER_256;
  hspi2.Init.FirstBit = SPI_FIRSTBIT_MSB;
  hspi2.Init.TIMode = SPI_TIMODE_DISABLE;
  hspi2.Init.CRCCalculation = SPI_CRCCALCULATION_DISABLE;
  hspi2.Init.CRCPolynomial = 7;
  hspi2.Init.CRCLength = SPI_CRC_LENGTH_DATASIZE;
  hspi2.Init.NSSPMode = SPI_NSS_PULSE_DISABLE;
  if (HAL_SPI_Init(&hspi2) != HAL_OK)
  {
    Error_Handler();
  }

}

static void MX_TIM16_Init(void)
{

  htim16.Instance = TIM16;
  htim16.Init.Prescaler = 32;
  htim16.Init.CounterMode = TIM_COUNTERMODE_UP;
  htim16.Init.Period = 100;
  htim16.Init.ClockDivision = TIM_CLOCKDIVISION_DIV1;
  htim16.Init.RepetitionCounter = 0;
  htim16.Init.AutoReloadPreload = TIM_AUTORELOAD_PRELOAD_DISABLE;
  if (HAL_TIM_Base_Init(&htim16) != HAL_OK)
  {
    Error_Handler();
  }

}

static void MX_USART3_UART_Init(void)
{

  huart3.Instance = USART3;
  huart3.Init.BaudRate = 115200;
  huart3.Init.WordLength = UART_WORDLENGTH_8B;
  huart3.Init.StopBits = UART_STOPBITS_1;
  huart3.Init.Parity = UART_PARITY_NONE;
  huart3.Init.Mode = UART_MODE_TX_RX;
  huart3.Init.HwFlowCtl = UART_HWCONTROL_NONE;
  huart3.Init.OverSampling = UART_OVERSAMPLING_16;
  huart3.Init.OneBitSampling = UART_ONE_BIT_SAMPLE_DISABLE;
  huart3.Init.ClockPrescaler = UART_PRESCALER_DIV1;
  huart3.AdvancedInit.AdvFeatureInit = UART_ADVFEATURE_NO_INIT;
  if (HAL_UART_Init(&huart3) != HAL_OK)
  {
    Error_Handler();
  }

}

static void MX_DMA_Init(void)
{

  /* DMA controller clock enable */
  __HAL_RCC_DMA1_CLK_ENABLE();

  /* DMA interrupt init */
  /* DMA1_Channel1_IRQn interrupt configuration */
  HAL_NVIC_SetPriority(DMA1_Channel1_IRQn, 0, 0);
  HAL_NVIC_EnableIRQ(DMA1_Channel1_IRQn);
  /* DMA1_Channel2_3_IRQn interrupt configuration */
  HAL_NVIC_SetPriority(DMA1_Channel2_3_IRQn, 0, 0);
  HAL_NVIC_EnableIRQ(DMA1_Channel2_3_IRQn);

}

static void MX_GPIO_Init(void)
{
  GPIO_InitTypeDef GPIO_InitStruct = {0};

  /* GPIO Ports Clock Enable */
  __HAL_RCC_GPIOC_CLK_ENABLE();
  __HAL_RCC_GPIOF_CLK_ENABLE();
  __HAL_RCC_GPIOA_CLK_ENABLE();
  __HAL_RCC_GPIOB_CLK_ENABLE();
  __HAL_RCC_GPIOD_CLK_ENABLE();

  /*Configure GPIO pin Output Level */
  HAL_GPIO_WritePin(GPIOC, TR1_Pin|TR2_Pin|TR3_Pin, GPIO_PIN_RESET);

  /*Configure GPIO pin Output Level */
  HAL_GPIO_WritePin(UP_LED_GPIO_Port, UP_LED_Pin, GPIO_PIN_RESET);

  /*Configure GPIO pin Output Level */
  HAL_GPIO_WritePin(GPIOA, MCU_RESET_Pin|MCU_PWRKEY_Pin|TC1_CS_Pin|TC5_CS_Pin
                          |LED_1_Pin, GPIO_PIN_RESET);

  /*Configure GPIO pin Output Level */
  HAL_GPIO_WritePin(GPIOB, R_CS_Pin|Y_CS_Pin|B_CS_Pin, GPIO_PIN_RESET);

  /*Configure GPIO pin Output Level */
  HAL_GPIO_WritePin(GPIOD, LED_2_Pin|LED_3_Pin, GPIO_PIN_RESET);

  /*Configure GPIO pins : TR1_Pin TR2_Pin TR3_Pin */
  GPIO_InitStruct.Pin = TR1_Pin|TR2_Pin|TR3_Pin;
  GPIO_InitStruct.Mode = GPIO_MODE_OUTPUT_PP;
  GPIO_InitStruct.Pull = GPIO_NOPULL;
  GPIO_InitStruct.Speed = GPIO_SPEED_FREQ_LOW;
  HAL_GPIO_Init(GPIOC, &GPIO_InitStruct);

  /*Configure GPIO pin : UP_LED_Pin */
  GPIO_InitStruct.Pin = UP_LED_Pin;
  GPIO_InitStruct.Mode = GPIO_MODE_OUTPUT_PP;
  GPIO_InitStruct.Pull = GPIO_NOPULL;
  GPIO_InitStruct.Speed = GPIO_SPEED_FREQ_LOW;
  HAL_GPIO_Init(UP_LED_GPIO_Port, &GPIO_InitStruct);

  /*Configure GPIO pins : R_ZCD_Pin Y_ZCD_Pin B_ZCD_Pin */
  GPIO_InitStruct.Pin = R_ZCD_Pin|Y_ZCD_Pin|B_ZCD_Pin;
  GPIO_InitStruct.Mode = GPIO_MODE_IT_FALLING;
  GPIO_InitStruct.Pull = GPIO_PULLUP;
  HAL_GPIO_Init(GPIOA, &GPIO_InitStruct);

  /*Configure GPIO pins : MCU_RESET_Pin MCU_PWRKEY_Pin TC1_CS_Pin TC5_CS_Pin
                           LED_1_Pin */
  GPIO_InitStruct.Pin = MCU_RESET_Pin|MCU_PWRKEY_Pin|TC1_CS_Pin|TC5_CS_Pin
                          |LED_1_Pin;
  GPIO_InitStruct.Mode = GPIO_MODE_OUTPUT_PP;
  GPIO_InitStruct.Pull = GPIO_NOPULL;
  GPIO_InitStruct.Speed = GPIO_SPEED_FREQ_LOW;
  HAL_GPIO_Init(GPIOA, &GPIO_InitStruct);

  /*Configure GPIO pins : R_CS_Pin Y_CS_Pin B_CS_Pin */
  GPIO_InitStruct.Pin = R_CS_Pin|Y_CS_Pin|B_CS_Pin;
  GPIO_InitStruct.Mode = GPIO_MODE_OUTPUT_PP;
  GPIO_InitStruct.Pull = GPIO_NOPULL;
  GPIO_InitStruct.Speed = GPIO_SPEED_FREQ_HIGH;
  HAL_GPIO_Init(GPIOB, &GPIO_InitStruct);

  /*Configure GPIO pin : RTC_INT_Pin */
  GPIO_InitStruct.Pin = RTC_INT_Pin;
  GPIO_InitStruct.Mode = GPIO_MODE_IT_FALLING;
  GPIO_InitStruct.Pull = GPIO_NOPULL;
  HAL_GPIO_Init(RTC_INT_GPIO_Port, &GPIO_InitStruct);

  /*Configure GPIO pins : LED_2_Pin LED_3_Pin */
  GPIO_InitStruct.Pin = LED_2_Pin|LED_3_Pin;
  GPIO_InitStruct.Mode = GPIO_MODE_OUTPUT_PP;
  GPIO_InitStruct.Pull = GPIO_NOPULL;
  GPIO_InitStruct.Speed = GPIO_SPEED_FREQ_LOW;
  HAL_GPIO_Init(GPIOD, &GPIO_InitStruct);

  /*Configure GPIO pins : BTN3_IN_Pin BTN2_IN_Pin BTN1_IN_Pin */
  GPIO_InitStruct.Pin = BTN3_IN_Pin|BTN2_IN_Pin|BTN1_IN_Pin;
  GPIO_InitStruct.Mode = GPIO_MODE_INPUT;
  GPIO_InitStruct.Pull = GPIO_NOPULL;
  HAL_GPIO_Init(GPIOB, &GPIO_InitStruct);

  /* EXTI interrupt init*/
  HAL_NVIC_SetPriority(EXTI2_3_IRQn, 0, 0);
  HAL_NVIC_EnableIRQ(EXTI2_3_IRQn);

  HAL_NVIC_SetPriority(EXTI4_15_IRQn, 0, 0);
  HAL_NVIC_EnableIRQ(EXTI4_15_IRQn);

}

void Error_Handler(void)
{
	__disable_irq();
	while (1)
	{
	}
}
